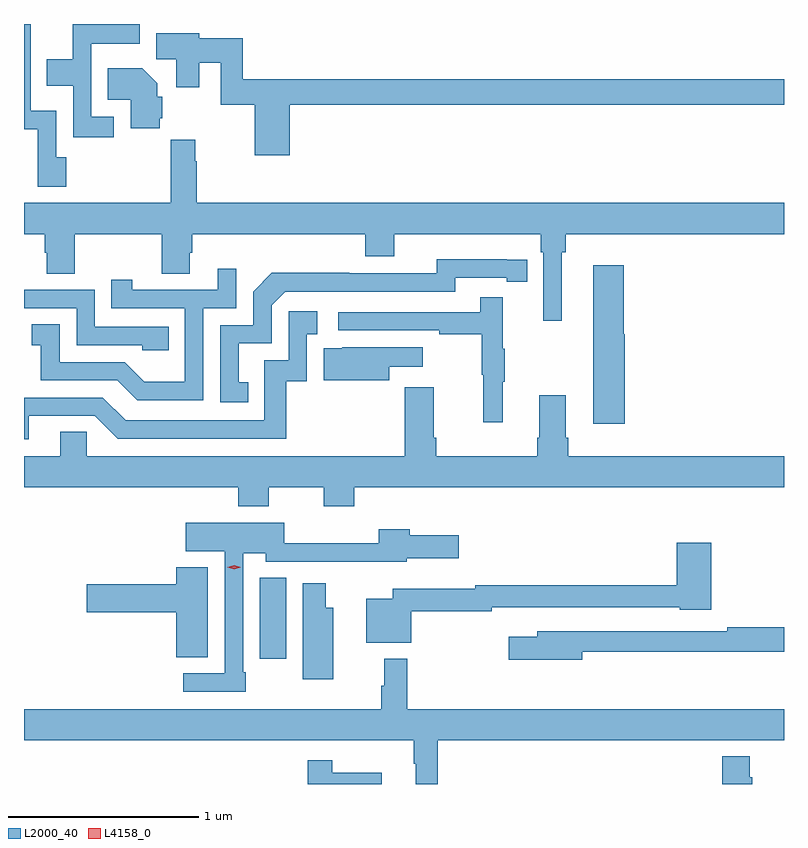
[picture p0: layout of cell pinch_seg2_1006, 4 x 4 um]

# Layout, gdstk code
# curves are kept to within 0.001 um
import gdstk
lib = gdstk.Library(unit=1e-6, precision=1e-09)
def R(c, l, rs):  # rectangles x0, y0, x1, y1
    for r in rs: c.add(gdstk.rectangle(r[:2], r[2:], *l))
def P(c, l, *ps):  # polygons
    for p in ps: c.add(gdstk.Polygon(p, *l))
L2000_40 = (2000, 40)
L4158_0 = (4158, 0)

pinch_seg2_1006 = lib.new_cell('pinch_seg2_1006')
R(pinch_seg2_1006, L2000_40, [(311.435,608.106,311.572,608.531)])
P(pinch_seg2_1006, L2000_40, [(310.415,610.746),(310.362,610.746),(310.362,610.99),(310.228,610.99),(310.228,611.446),(310.193,611.446),(310.193,610.893),(310.266,610.893),(310.266,610.59),(310.415,610.59)],
  [(310.666,610.959),(310.548,610.959),(310.548,611.342),(310.801,611.342),(310.801,611.446),(310.45,611.446),(310.45,611.26),(310.313,611.26),(310.313,611.12),(310.452,611.12),(310.452,610.851),(310.666,610.851)],
  [(311.591,611.02),(314.193,611.02),(314.193,611.156),(311.345,611.156),(311.345,611.371),(311.116,611.371),(311.116,611.398),(310.889,611.398),(310.889,611.26),(310.994,611.26),(310.994,611.112),(311.116,611.112),(311.116,611.242),(311.229,611.242),(311.229,611.02),(311.408,611.02),(311.408,610.755),(311.591,610.755)],
  [(310.907,610.95),(310.92,610.95),(310.92,611.064),(310.894,611.064),(310.894,611.134),(310.816,611.212),(310.633,611.212),(310.633,611.048),(310.754,611.048),(310.754,610.898),(310.907,610.898)],
  [(313.024,610.244),(313.043,610.244),(313.043,610.34),(314.193,610.34),(314.193,610.504),(311.102,610.504),(311.102,610.724),(311.095,610.724),(311.095,610.837),(310.966,610.837),(310.966,610.504),(310.193,610.504),(310.193,610.34),(310.301,610.34),(310.301,610.242),(310.313,610.242),(310.313,610.132),(310.461,610.132),(310.461,610.34),(310.918,610.34),(310.918,610.132),(311.065,610.132),(311.065,610.242),(311.078,610.242),(311.078,610.34),(311.99,610.34),(311.99,610.223),(312.142,610.223),(312.142,610.34),(312.914,610.34),(312.914,610.244),(312.927,610.244),(312.927,609.885),(313.024,609.885)],
  [(311.372,609.561),(311.323,609.561),(311.323,609.765),(311.496,609.765),(311.496,609.966),(311.568,610.038),(312.462,610.038),(312.462,610.11),(312.734,610.11),(312.734,610.09),(312.842,610.09),(312.842,610.206),(312.366,610.207),(312.366,610.134),(311.906,610.134),(311.906,610.136),(311.498,610.136),(311.4,610.038),(311.4,609.861),(311.226,609.861),(311.226,609.456),(311.372,609.456)],
  [(313.354,609.813),(313.349,609.813),(313.349,610.177),(313.19,610.177),(313.19,609.342),(313.354,609.342)],
  [(311.136,609.951),(311.31,609.951),(311.31,610.159),(311.213,610.159),(311.213,610.047),(310.762,610.047),(310.762,610.099),(310.651,610.099),(310.651,609.951),(311.04,609.951),(311.04,609.562),(310.826,609.562),(310.722,609.666),(310.38,609.666),(310.38,609.865),(310.233,609.865),(310.233,609.755),(310.282,609.755),(310.282,609.57),(310.685,609.57),(310.79,609.465),(311.136,609.465)],
  [(310.955,609.852),(310.566,609.852),(310.566,610.047),(310.193,610.047),(310.193,609.951),(310.47,609.951),(310.47,609.756),(310.815,609.756),(310.815,609.729),(310.955,609.729)],
  [(312.713,609.563),(312.724,609.563),(312.724,609.737),(312.713,609.737),(312.713,610.009),(312.595,610.009),(312.595,609.93),(311.847,609.93),(311.847,609.834),(312.379,609.834),(312.379,609.814),(312.603,609.814),(312.603,609.6),(312.61,609.6),(312.61,609.351),(312.713,609.351)],
  [(310.219,609.384),(310.566,609.384),(310.686,609.264),(311.573,609.264),(311.573,609.567),(311.682,609.567),(311.682,609.813),(311.737,609.813),(311.737,609.934),(311.586,609.934),(311.586,609.675),(311.457,609.675),(311.457,609.36),(310.728,609.36),(310.608,609.48),(310.193,609.48),(310.193,609.261),(310.219,609.261)],
  [(312.115,609.641),(312.292,609.641),(312.292,609.745),(311.868,609.745),(311.868,609.739),(311.771,609.739),(311.771,609.572),(312.115,609.572)],
  [(311.481,609.008),(311.77,609.008),(311.77,608.909),(311.93,608.909),(311.93,609.008),(314.193,609.008),(314.193,609.172),(313.058,609.172),(313.058,609.268),(313.045,609.268),(313.045,609.493),(312.905,609.493),(312.905,609.268),(312.893,609.268),(312.893,609.172),(312.362,609.172),(312.362,609.268),(312.349,609.268),(312.349,609.535),(312.197,609.535),(312.197,609.172),(310.524,609.172),(310.524,609.299),(310.385,609.299),(310.385,609.172),(310.193,609.172),(310.193,609.008),(311.321,609.008),(311.321,608.909),(311.481,608.909)],
  [(311.359,608.035),(311.346,608.035),(311.346,608.66),(311.466,608.66),(311.466,608.616),(311.975,608.616),(311.975,608.615),(312.207,608.615),(312.207,608.633),(312.481,608.633),(312.481,608.755),(312.224,608.755),(312.224,608.788),(312.059,608.788),(312.059,608.714),(311.562,608.714),(311.562,608.821),(311.043,608.821),(311.043,608.672),(311.25,608.672),(311.25,608.028),(311.031,608.028),(311.031,607.932),(311.359,607.932)],
  [(312.231,608.356),(312.656,608.356),(312.656,608.376),(313.644,608.376),(313.644,608.363),(313.811,608.363),(313.811,608.716),(313.628,608.716),(313.628,608.492),(312.568,608.492),(312.568,608.473),(312.135,608.473),(312.135,608.422),(311.993,608.422),(311.993,608.189),(312.231,608.189)],
  [(311.161,608.587),(310.994,608.587),(310.994,608.498),(310.524,608.498),(310.524,608.351),(310.994,608.351),(310.994,608.113),(311.161,608.113)],
  [(311.821,608.374),(311.782,608.374),(311.782,608.503),(311.66,608.503),(311.66,607.997),(311.821,607.997)],
  [(313.132,608.142),(314.193,608.142),(314.193,608.27),(313.894,608.27),(313.894,608.25),(312.893,608.25),(312.893,608.221),(312.744,608.221),(312.744,608.099),(313.132,608.099)],
  [(312.371,607.676),(314.193,607.676),(314.193,607.84),(312.209,607.84),(312.209,608.104),(312.088,608.104),(312.088,607.964),(312.073,607.964),(312.073,607.84),(310.193,607.84),(310.193,607.676),(312.243,607.676),(312.243,607.553),(312.254,607.553),(312.254,607.446),(312.371,607.446)],
  [(314.027,607.481),(314.014,607.481),(314.014,607.591),(313.868,607.591),(313.868,607.446),(314.027,607.446)],
  [(312.076,607.504),(311.815,607.504),(311.815,607.57),(311.686,607.57),(311.686,607.446),(312.076,607.446)])
P(pinch_seg2_1006, L4158_0, [(311.299,608.577),(311.264,608.587),(311.264,608.587),(311.264,608.587),(311.299,608.597),(311.333,608.587),(311.334,608.587),(311.333,608.586)])

lib.write_gds('pinch_seg2_1006.gds')
